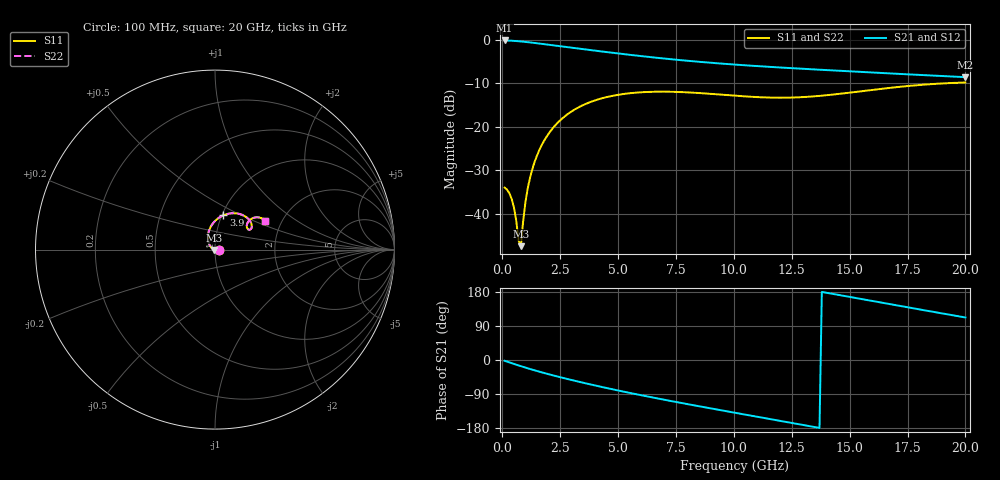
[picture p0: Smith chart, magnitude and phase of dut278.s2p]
! Created with skrf 1.9.0 (http://scikit-rf.org).
# GHz S RI R 50.0
!freq ReS11 ImS11 ReS21 ImS21 ReS12 ImS12 ReS22 ImS22
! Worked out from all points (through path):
!   200 points, 100 MHz to 20 GHz, reference 50 ohm
!   highest |S21| = -0.18 dB at 100 MHz (marker M1); lowest = -8.6 dB at 20 GHz (marker M2)
!   group delay of S21, straight-line fit = 32.7 ps
!   lowest |S11| = -47.5 dB at 800 MHz (marker M3), VSWR 1.01, Z = 49.7 - j0.274 ohm
!   |S11| at or under -10 dB: start of sweep to 19.22 GHz
!   |S22| runs from -47.5 to -9.8 dB; largest |S21 - S12| = 2.1e-15
!   S11 on the Smith chart (normalised r, x): 100 MHz: 1.04, -0.00; 3.9 GHz: 1.02, +0.40; 20 GHz: 1.64, +0.59
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0.1  0.0199 -0.00161  0.9786 -0.036  0.9786 -0.036  0.0199 -0.00161
0.4  0.0138 -0.00567  0.9624 -0.1407  0.9624 -0.1407  0.0138 -0.00567
0.5  0.0103 -0.00607  0.9531 -0.1741  0.9531 -0.1741  0.0103 -0.00607
0.6  0.00616 -0.00577  0.9423 -0.2064  0.9423 -0.2064  0.00616 -0.00577
0.7  0.00161 -0.00468  0.9299 -0.2377  0.9299 -0.2377  0.00161 -0.00468
0.8  -0.00322 -0.00275  0.9161 -0.2677  0.9161 -0.2677  -0.00322 -0.00275
0.9  -0.00817 4.06e-05  0.9011 -0.2966  0.9011 -0.2966  -0.00817 4.06e-05
1  -0.0131 0.00369  0.8851 -0.3241  0.8851 -0.3241  -0.0131 0.00369
1.1  -0.0179 0.00816  0.8682 -0.3503  0.8682 -0.3503  -0.0179 0.00816
1.3  -0.0264 0.0193  0.8322 -0.3989  0.8322 -0.3989  -0.0264 0.0193
1.6  -0.0357 0.0405  0.7743 -0.4626  0.7743 -0.4626  -0.0357 0.0405
2  -0.0393 0.0732  0.6933 -0.5322  0.6933 -0.5322  -0.0393 0.0732
2.4  -0.033 0.1065  0.6105 -0.5866  0.6105 -0.5866  -0.033 0.1065
3.5  0.0203 0.1765  0.3867 -0.6739  0.3867 -0.6739  0.0203 0.1765
3.9  0.046 0.1908  0.3095 -0.6871  0.3095 -0.6871  0.046 0.1908
5.2  0.1253 0.201  0.0834 -0.6793  0.0834 -0.6793  0.1253 0.201
6.8  0.1865 0.1704  -0.134 -0.5993  -0.134 -0.5993  0.1865 0.1704
8.4  0.2051 0.1334  -0.288 -0.4798  -0.288 -0.4798  0.2051 0.1334
10.1  0.197 0.1121  -0.3941 -0.3329  -0.3941 -0.3329  0.197 0.1121
13.4  0.1771 0.1347  -0.455 -0.032  -0.455 -0.032  0.1771 0.1347
16.7  0.2153 0.1771  -0.3469 0.2184  -0.3469 0.2184  0.2153 0.1771
20  0.2784 0.1619  -0.1402 0.3434  -0.1402 0.3434  0.2784 0.1619
